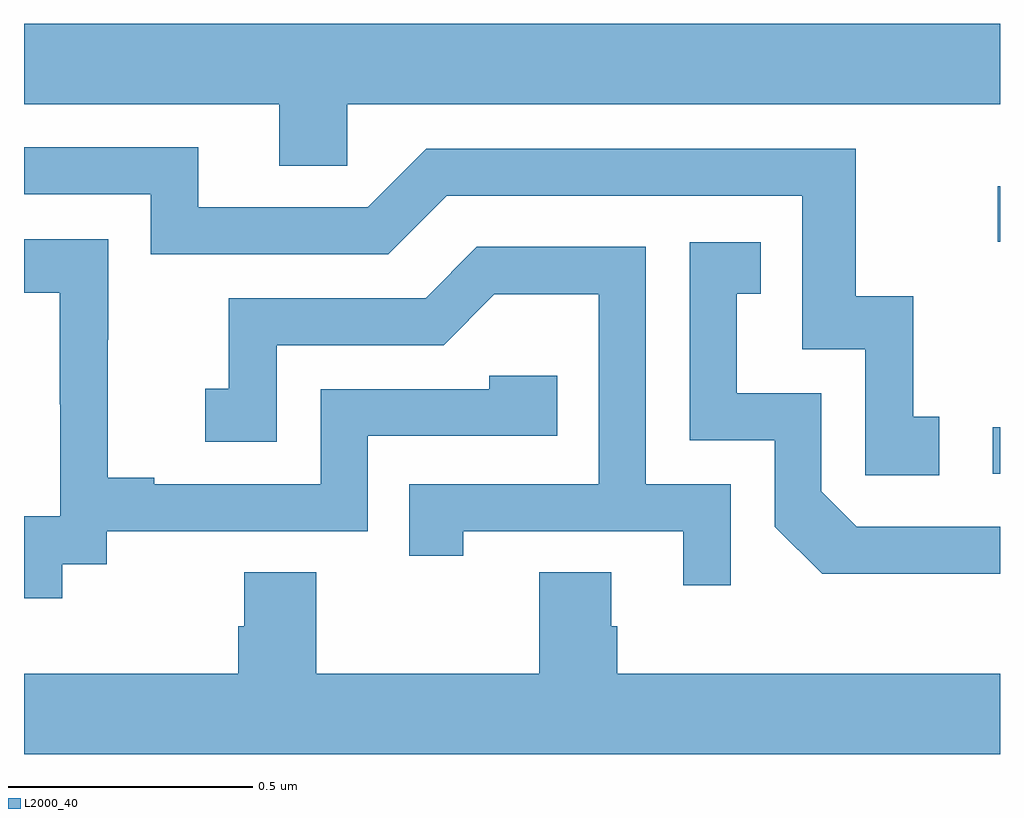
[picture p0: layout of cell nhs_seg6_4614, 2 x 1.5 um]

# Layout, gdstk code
import gdstk
lib = gdstk.Library(unit=1e-6, precision=1e-09)
def R(c, l, rs):  # rectangles x0, y0, x1, y1
    for r in rs: c.add(gdstk.rectangle(r[:2], r[2:], *l))
def P(c, l, *ps):  # polygons
    for p in ps: c.add(gdstk.Polygon(p, *l))
L2000_40 = (2000, 40)

nhs_seg6_4614 = lib.new_cell('nhs_seg6_4614')
R(nhs_seg6_4614, L2000_40, [(173.985,949.242,174,949.338), (173.995,949.718,174,949.831)])
P(nhs_seg6_4614, L2000_40, [(172.662,950),(174,950),(174,950.164),(172,950.164),(172,950),(172.523,950),(172.523,949.873),(172.662,949.873)],
  [(173.875,949.359),(173.822,949.359),(173.822,949.606),(173.704,949.606),(173.704,949.908),(172.824,949.908),(172.704,949.788),(172.357,949.788),(172.357,949.911),(172,949.911),(172,949.815),(172.26,949.815),(172.26,949.692),(172.746,949.692),(172.866,949.812),(173.595,949.812),(173.595,949.497),(173.724,949.497),(173.724,949.239),(173.875,949.239)],
  [(172.078,949.057),(172.17,949.057),(172.17,949.125),(172.704,949.125),(172.704,949.32),(173.093,949.32),(173.093,949.443),(172.953,949.443),(172.953,949.416),(172.608,949.416),(172.608,949.221),(172.267,949.221),(172.267,949.234),(172.172,949.234),(172.172,949.517),(172.173,949.517),(172.173,949.723),(172,949.723),(172,949.613),(172.073,949.613),(172.073,949.385),(172.074,949.385),(172.074,949.155),(172,949.155),(172,948.987),(172.078,948.987)],
  [(174,949.134),(173.706,949.134),(173.634,949.206),(173.634,949.407),(173.461,949.407),(173.461,949.611),(173.51,949.611),(173.51,949.717),(173.364,949.717),(173.364,949.311),(173.538,949.311),(173.538,949.134),(173.636,949.037),(174,949.037)],
  [(173.448,949.221),(173.274,949.221),(173.274,949.707),(172.928,949.707),(172.823,949.602),(172.42,949.602),(172.42,949.417),(172.371,949.417),(172.371,949.308),(172.518,949.308),(172.518,949.506),(172.86,949.506),(172.964,949.61),(173.178,949.61),(173.178,949.221),(172.789,949.221),(172.789,949.074),(172.9,949.074),(172.9,949.125),(173.351,949.125),(173.351,949.014),(173.448,949.014)],
  [(174,948.832),(173.216,948.832),(173.216,948.93),(173.203,948.93),(173.203,949.04),(173.056,949.04),(173.056,948.832),(172.599,948.832),(172.599,949.04),(172.451,949.04),(172.451,948.93),(172.439,948.93),(172.439,948.832),(172,948.832),(172,948.668),(174,948.668)])

lib.write_gds('nhs_seg6_4614.gds')
